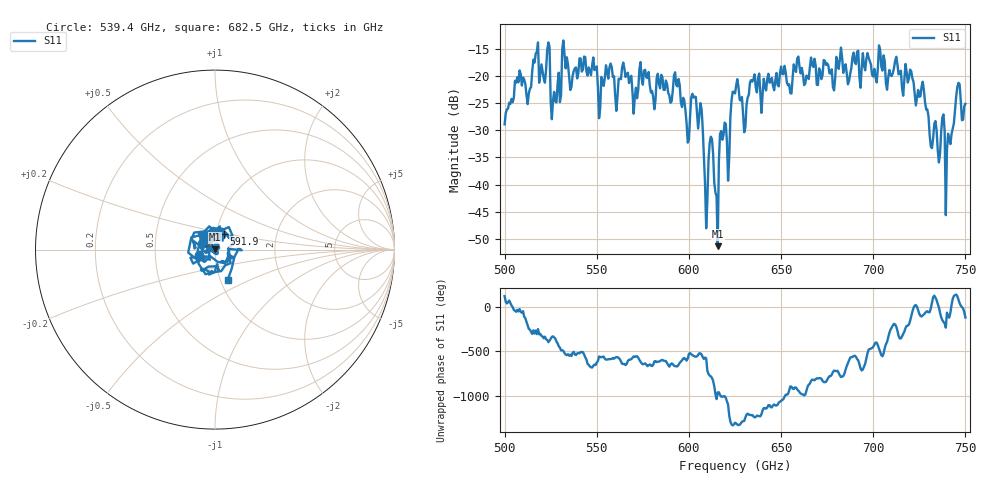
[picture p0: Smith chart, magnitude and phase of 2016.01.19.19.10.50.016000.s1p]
!Created with skrf (http://scikit-rf.org).
# GHz S RI R 50.0
!freq ReS11 ImS11
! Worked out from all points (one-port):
!   401 points, 500 GHz to 750 GHz, reference 50 ohm
!   lowest |S11| = -51.3 dB at 615.6 GHz (marker M1), VSWR 1.01, Z = 49.9 + j0.233 ohm
!   |S11| at or under -10 dB: start of sweep to end of sweep
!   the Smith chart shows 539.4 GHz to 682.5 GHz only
!   S11 on the Smith chart (normalised r, x): 539.4 GHz: 0.83, -0.05; 591.9 GHz: 1.09, +0.19; 682.5 GHz: 1.09, -0.37
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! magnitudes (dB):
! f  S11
! 500 GHz  -28.9
! 513.1 GHz  -23.3
! 516.9 GHz  -15.9
! 523.1 GHz  -15.2
! 526.2 GHz  -24.5
! 531.2 GHz  -15.2
! 539.4 GHz  -20.5
! 562.5 GHz  -20.6
! 591.9 GHz  -20.0
! 593.8 GHz  -22.0
! 599.4 GHz  -32.3
! 602.5 GHz  -24.0
! 606.2 GHz  -25.0
! 609.4 GHz  -48.0
! 611.9 GHz  -31.2
! 615.6 GHz  -51.3
! 618.1 GHz  -31.7
! 621.2 GHz  -39.3
! 625 GHz  -23.2
! 630.6 GHz  -29.5
! 634.4 GHz  -21.1
! 656.2 GHz  -20.4
! 682.5 GHz  -14.8
! 687.5 GHz  -19.7
! 718.8 GHz  -21.2
! 740.6 GHz  -30.6
! 745.6 GHz  -22.1
! 750 GHz  -25.2
